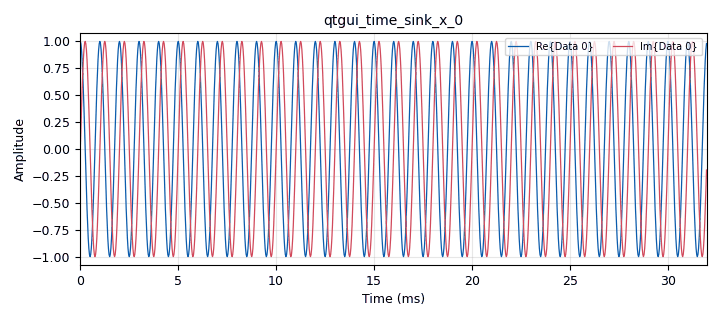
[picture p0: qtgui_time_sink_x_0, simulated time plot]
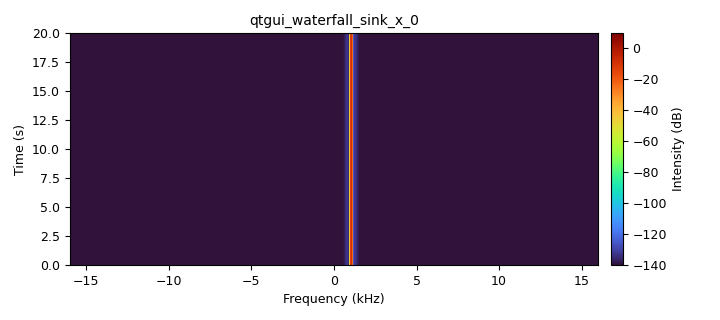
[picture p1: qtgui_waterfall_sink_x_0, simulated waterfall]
options:
  parameters:
    generate_options: qt_gui
    id: main
    output_language: python
    title: main
  states: {}

blocks:
- name: samp_rate
  id: variable
  parameters:
    value: '32000'
  states: {}
- name: analog_sig_source_x_0
  id: analog_sig_source_x
  parameters:
    amp: '1'
    freq: '1000'
    offset: '0'
    phase: '0'
    samp_rate: samp_rate
    type: complex
    waveform: analog.GR_COS_WAVE
  states: {}
- name: epy_block_0
  id: epy_block
  parameters:
    _source_code: |
      import numpy as np
      import os
      import torch
      from gnuradio import gr


      class blk(gr.sync_block):
          """Model-based signal/noise detector and gate for complex IQ streams."""

          def __init__(self,
                       model_path='/home/erhelito/Nextcloud/files/travail/info/Hackathon-ONERA/models/signal_noise_detector.pt',
                       threshold=0.5):
              gr.sync_block.__init__(
                  self,
                  name='Signal/Noise Detector Block',
                  in_sig=[np.complex64],
                  out_sig=[np.complex64]
              )
              print('current working directory:', os.getcwd())

              self.threshold = float(threshold)
              self.model_path = model_path
              self.model = self.load_model(
                  self.resolve_model_path(model_path))
              self.last_probability = 0.0
              self.last_class_name = 'noise'
              self._warned_once = False

              

          def resolve_model_path(self, model_path):
              """if os.path.isabs(model_path):
                  return model_path"""
              """base_dir = os.path.dirname(os.path.abspath(__file__))
              return os.path.normpath(os.path.join(base_dir, model_path))"""
              return model_path

          def load_model(self, model_path):
              model = torch.jit.load(model_path)
              model.eval()

              return model

          def predict_proba(self, model, x):
              with torch.no_grad():
                  out = model(x)

                  return float(out.reshape(-1)[0].item())

          def predict_class(self, model, x, threshold=0.5):
              probability = self.predict_proba(model, x)
              class_id = int(probability >= threshold)
              class_name = 'signal' if class_id == 1 else 'noise'

              return class_id, class_name, probability

          def work(self, input_items, output_items):
              iq = input_items[0]
              """"
              !!!!!!!!!!!!!!!!!!
              justify below
              !!!!!!!!!!!!!!!!!!
              """

              # Expected model input: batch of IQ samples encoded as [real, imag].
              features = np.stack((iq.real, iq.imag), axis=-
                                  1).astype(np.float32, copy=False)
              x = torch.from_numpy(features).unsqueeze(0)

              try:
                  class_id, class_name, probability = self.predict_class(self.model,
                                                                         x,
                                                                         threshold=self.threshold)
                  self.last_probability = probability
                  self.last_class_name = class_name

                  if class_id == 1:
                      output_items[0][:] = iq
                  else:
                      output_items[0][:] = np.complex64(0.0 + 0.0j)

              except Exception as exc:
                  # Keep the flowgraph alive and bypass data if inference fails.
                  if not self._warned_once:
                      print('Signal/Noise Detector Block inference error:', exc)
                      self._warned_once = True

                  output_items[0][:] = iq

              return len(output_items[0])
    model_path: '"/home/erhelito/Nextcloud/files/travail/info/Hackathon-ONERA/models/signal_noise_detector.pt"'
    threshold: '0.5'
  states: {}
- name: qtgui_const_sink_x_0
  id: qtgui_const_sink_x
  parameters:
    size: '1024'
    type: complex
  states: {}
- name: qtgui_time_sink_x_0
  id: qtgui_time_sink_x
  parameters:
    size: '1024'
    srate: samp_rate
    type: complex
  states: {}
- name: qtgui_waterfall_sink_x_0
  id: qtgui_waterfall_sink_x
  parameters:
    bw: samp_rate
    fc: '0'
    fftsize: '1024'
    type: complex
  states: {}

connections:
- [analog_sig_source_x_0, '0', epy_block_0, '0']
- [analog_sig_source_x_0, '0', qtgui_time_sink_x_0, '0']
- [analog_sig_source_x_0, '0', qtgui_waterfall_sink_x_0, '0']
- [epy_block_0, '0', qtgui_const_sink_x_0, '0']

metadata:
  file_format: 1
  grc_version: 3.10.12.0
